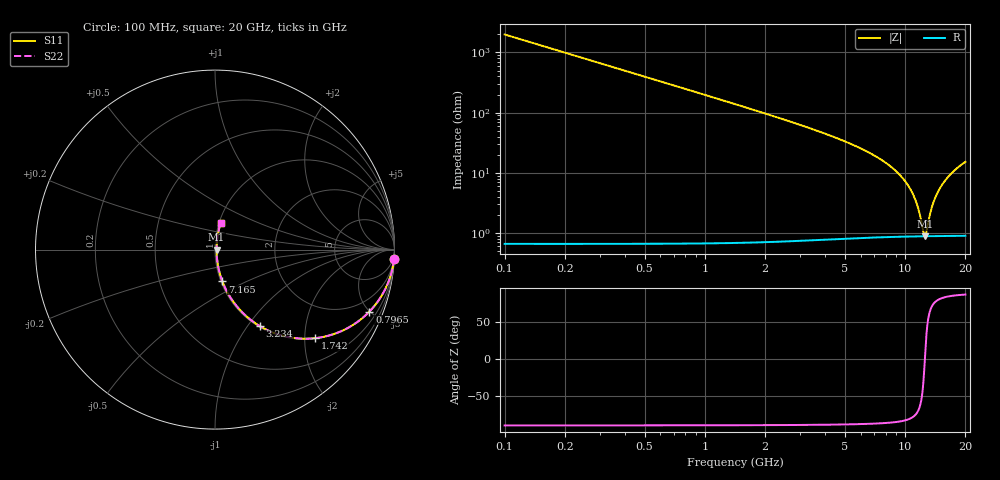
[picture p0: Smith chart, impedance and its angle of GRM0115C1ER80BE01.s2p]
!Murata Part Number: GRM0115C1ER80BE01
!These Parameters are Measured in Series Mode Connection
!Data Generated on Mar 30, 2021
!  o--ll--o
!Port1  Port2
!  o------o
!Operation Temp=25[degC], DC Bias Voltage=0[V]
!Freq. Start=100[MHz] Stop=20[GHz] 401[Steps]
# Hz S RI R 50
!Freq.(Hz) S11(Real) S11(Imag) S21(Real) S21(Imag) S12(Real) S12(Imag) S22(Real) S22(Imag)
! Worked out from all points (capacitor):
!   401 points, 100 MHz to 20 GHz, reference 50 ohm
!   read as one part in series: C = 800 fF near 199.5 MHz
!   lowest |Z| = 887 mohm at 12.54 GHz (marker M1)
!   series resonance near 12.55 GHz, so ESL is about 200 pH
!   S11 on the Smith chart (normalised r, x): 100 MHz: 1, -40; 796.5 MHz: 1.01, -4.97; 1.742 GHz: 1.01, -2.24; 3.234 GHz: 1.02, -1.15; 7.165 GHz: 1.02, -0.37; 20 GHz: 1.02, +0.30
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1e8  0.9975 -0.0501  0.00254 0.0501  0.00254 0.0501  0.9975 -0.0501
2.99e8  0.9777 -0.147  0.0223 0.147  0.0223 0.147  0.9777 -0.147
3.985e8  0.9611 -0.1927  0.0389 0.1927  0.0389 0.1927  0.9611 -0.1927
7.965e8  0.8602 -0.3455  0.1398 0.3455  0.1398 0.3455  0.8602 -0.3455
1.1945e9  0.7305 -0.4417  0.2695 0.4417  0.2695 0.4417  0.7305 -0.4417
1.74175e9  0.5558 -0.4938  0.4442 0.4938  0.4442 0.4938  0.5558 -0.4938
3.23425e9  0.2502 -0.4266  0.7498 0.4266  0.7498 0.4266  0.2502 -0.4266
3.43325e9  0.2259 -0.4111  0.7741 0.4111  0.7741 0.4111  0.2259 -0.4111
4.82625e9  0.1149 -0.3076  0.8851 0.3076  0.8851 0.3076  0.1149 -0.3076
6.7665e9  0.0488 -0.1961  0.9512 0.1961  0.9512 0.1961  0.0488 -0.1961
7.1645e9  0.0412 -0.1774  0.9588 0.1774  0.9588 0.1774  0.0412 -0.1774
1.005e10  0.0135 -0.0692  0.9865 0.0692  0.9865 0.0692  0.0135 -0.0692
1.139325e10  0.00965 -0.0301  0.9903 0.0301  0.9903 0.0301  0.00965 -0.0301
1.1841e10  0.00909 -0.0181  0.9909 0.0181  0.9909 0.0181  0.00909 -0.0181
1.238825e10  0.0088 -0.00406  0.9912 0.00406  0.9912 0.00406  0.0088 -0.00406
1.25375e10  0.00879 -0.000349  0.9912 0.000349  0.9912 0.000349  0.00879 -0.000349
1.27365e10  0.00881 0.00453  0.9912 -0.00453  0.9912 -0.00453  0.00881 0.00453
1.338325e10  0.00921 0.0199  0.9908 -0.0199  0.9908 -0.0199  0.00921 0.0199
1.39305e10  0.00989 0.0323  0.9901 -0.0323  0.9901 -0.0323  0.00989 0.0323
1.467675e10  0.0112 0.0486  0.9888 -0.0486  0.9888 -0.0486  0.0112 0.0486
1.67165e10  0.017 0.0893  0.983 -0.0893  0.983 -0.0893  0.017 0.0893
2e10  0.031 0.1463  0.969 -0.1463  0.969 -0.1463  0.031 0.1463
